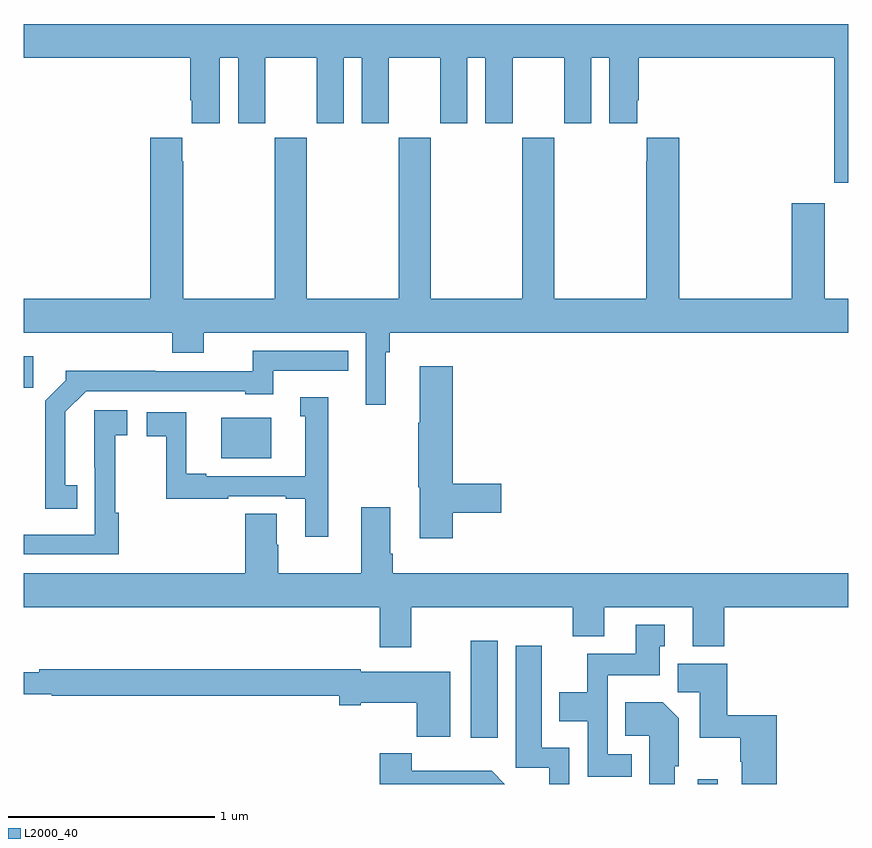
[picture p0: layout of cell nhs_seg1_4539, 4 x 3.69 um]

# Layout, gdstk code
import gdstk
lib = gdstk.Library(unit=1e-6, precision=1e-09)
def R(c, l, rs):  # rectangles x0, y0, x1, y1
    for r in rs: c.add(gdstk.rectangle(r[:2], r[2:], *l))
def P(c, l, *ps):  # polygons
    for p in ps: c.add(gdstk.Polygon(p, *l))
L2000_40 = (2000, 40)

nhs_seg1_4539 = lib.new_cell('nhs_seg1_4539')
R(nhs_seg1_4539, L2000_40, [(360.27,560.199,360.366,560.221), (359.168,560.424,359.299,560.893), (357.959,561.779,358.201,561.976), (357,562.121,357.047,562.273)])
P(nhs_seg1_4539, L2000_40, [(361,563.884),(357,563.884),(357,563.72),(357.809,563.72),(357.809,563.515),(357.815,563.515),(357.815,563.403),(357.952,563.403),(357.952,563.72),(358.04,563.72),(358.04,563.403),(358.171,563.403),(358.171,563.72),(358.421,563.72),(358.421,563.403),(358.552,563.403),(358.552,563.72),(358.64,563.72),(358.64,563.403),(358.771,563.403),(358.771,563.72),(359.021,563.72),(359.021,563.403),(359.152,563.403),(359.152,563.72),(359.24,563.72),(359.24,563.403),(359.371,563.403),(359.371,563.72),(359.621,563.72),(359.621,563.403),(359.752,563.403),(359.752,563.72),(359.84,563.72),(359.84,563.403),(359.977,563.403),(359.977,563.515),(359.984,563.515),(359.984,563.72),(360.932,563.72),(360.932,563.114),(361,563.114)],
  [(358.756,562.292),(358.775,562.292),(358.775,562.388),(361,562.388),(361,562.552),(360.885,562.552),(360.885,563.014),(360.725,563.014),(360.725,562.552),(360.179,562.552),(360.179,563.332),(360.023,563.332),(360.023,563.219),(360.019,563.219),(360.019,562.552),(359.574,562.552),(359.574,563.332),(359.419,563.332),(359.419,562.552),(358.974,562.552),(358.974,563.332),(358.819,563.332),(358.819,562.552),(358.374,562.552),(358.374,563.332),(358.219,563.332),(358.219,562.552),(357.774,562.552),(357.774,563.219),(357.769,563.219),(357.769,563.332),(357.614,563.332),(357.614,562.552),(357,562.552),(357,562.388),(357.722,562.388),(357.722,562.289),(357.874,562.289),(357.874,562.388),(358.659,562.388),(358.659,562.038),(358.756,562.038)],
  [(357.26,561.647),(357.202,561.647),(357.202,562.003),(357.303,562.104),(358.074,562.104),(358.074,562.088),(358.21,562.088),(358.21,562.203),(358.574,562.203),(358.574,562.299),(358.111,562.299),(358.111,562.2),(357.638,562.2),(357.638,562.202),(357.204,562.202),(357.204,562.157),(357.105,562.058),(357.105,561.534),(357.26,561.534)],
  [(359.081,561.514),(359.317,561.514),(359.317,561.656),(359.081,561.656),(359.081,562.225),(358.922,562.225),(358.922,561.95),(358.915,561.95),(358.915,561.639),(358.922,561.639),(358.922,561.39),(359.081,561.39)],
  [(358.477,562.075),(358.343,562.075),(358.343,561.981),(358.367,561.981),(358.367,561.69),(357.886,561.69),(357.886,561.703),(357.79,561.703),(357.79,562.002),(357.597,562.002),(357.597,561.886),(357.691,561.886),(357.691,561.582),(357.992,561.582),(357.992,561.594),(358.271,561.594),(358.271,561.582),(358.367,561.582),(358.367,561.399),(358.477,561.399)],
  [(357.461,561.515),(357.444,561.515),(357.444,561.891),(357.502,561.891),(357.502,562.012),(357.344,562.012),(357.344,561.736),(357.345,561.736),(357.345,561.408),(357,561.408),(357,561.312),(357.461,561.312)],
  [(358.879,561.056),(359.663,561.056),(359.663,560.915),(359.815,560.915),(359.815,561.056),(360.245,561.056),(360.245,560.867),(360.398,560.867),(360.398,561.056),(361,561.056),(361,561.22),(358.79,561.22),(358.79,561.316),(358.777,561.316),(358.777,561.541),(358.637,561.541),(358.637,561.22),(358.236,561.22),(358.236,561.359),(358.228,561.359),(358.228,561.509),(358.076,561.509),(358.076,561.22),(357,561.22),(357,561.056),(358.727,561.056),(358.727,560.862),(358.879,560.862)],
  [(359.95,560.343),(359.832,560.343),(359.832,560.726),(360.085,560.726),(360.085,560.868),(360.109,560.868),(360.109,560.971),(359.969,560.971),(359.969,560.83),(359.734,560.83),(359.734,560.644),(359.597,560.644),(359.597,560.504),(359.736,560.504),(359.736,560.235),(359.95,560.235)],
  [(359.646,560.374),(359.512,560.374),(359.512,560.869),(359.387,560.869),(359.387,560.277),(359.55,560.277),(359.55,560.199),(359.646,560.199)],
  [(360.653,560.533),(360.413,560.533),(360.413,560.782),(360.173,560.782),(360.173,560.644),(360.278,560.644),(360.278,560.423),(360.475,560.423),(360.475,560.308),(360.482,560.308),(360.482,560.199),(360.653,560.199)],
  [(359.068,560.743),(358.636,560.743),(358.636,560.755),(357.076,560.755),(357.076,560.742),(357,560.742),(357,560.634),(357.136,560.634),(357.136,560.626),(358.532,560.626),(358.532,560.582),(358.636,560.582),(358.636,560.594),(358.906,560.594),(358.906,560.429),(359.068,560.429)],
  [(360.157,560.286),(360.178,560.286),(360.178,560.518),(360.1,560.596),(359.917,560.596),(359.917,560.432),(360.035,560.432),(360.035,560.199),(360.157,560.199)],
  [(359.271,560.263),(358.882,560.263),(358.882,560.347),(358.727,560.347),(358.727,560.199),(359.334,560.199)])

lib.write_gds('nhs_seg1_4539.gds')
